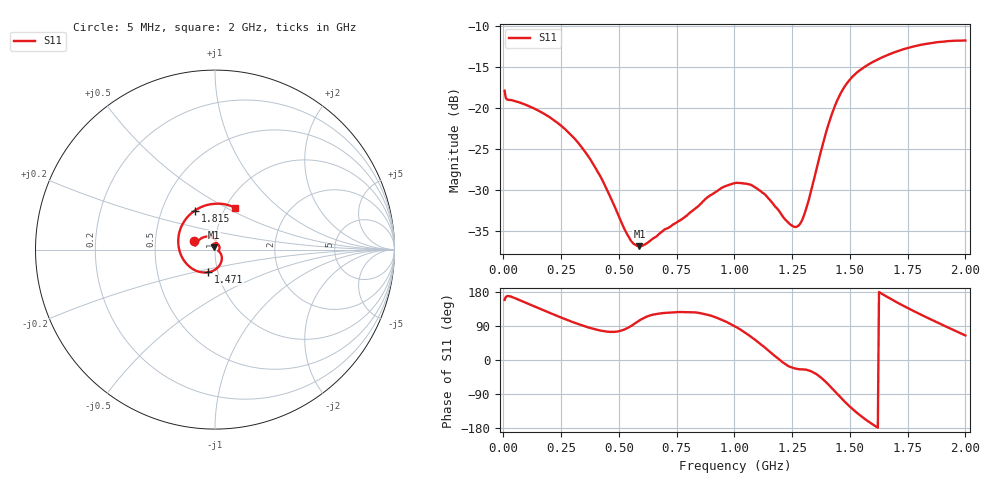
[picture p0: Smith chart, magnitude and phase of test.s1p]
! Mini-Circuits
! S9P DATA File Format
! Type: 8 Way 0 degree Power Splitter
! Model: JCPS-8-10+
! PINOUT: SUMPORT=PORT9 , OUT1 PORT=PORT1 , OUT2 PORT=PORT2 , OUT3 PORT=PORT3 , OUT4 PORT=PORT4 , OUT5 PORT=PORT5 , OUT6 PORT=PORT6 , OUT7 PORT=PORT7 , OUT8 PORT=PORT8
! TEST CONDITIONS: INPUT POWER = 0 dBm @ Temperature = + 25 deg C
! 401 Frequency points
! All S Parameters are in dB deg format
! Created with skrf (http://scikit-rf.org).
# MHz S RI R 50.0
!freq ReS11 ImS11
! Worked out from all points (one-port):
!   401 points, 5 MHz to 2 GHz, reference 50 ohm
!   lowest |S11| = -36.9 dB at 588.5 MHz (marker M1), VSWR 1.03, Z = 49.6 + j1.37 ohm
!   |S11| at or under -10 dB: start of sweep to end of sweep
!   S11 on the Smith chart (normalised r, x): 5 MHz: 0.78, +0.07; 1.471 GHz: 0.90, -0.23; 1.815 GHz: 0.73, +0.34; 2 GHz: 1.10, +0.55
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5  -0.1192 0.0461
19.96  -0.1102 0.0217
144.65  -0.0732 0.0644
254.38  -0.0275 0.0718
314.23  -0.00771 0.0631
384.05  0.0056 0.0462
443.9  0.00828 0.0315
503.75  0.00489 0.0204
553.63  -8.03e-06 0.0153
588.54  -0.00354 0.0138
753.13  -0.0119 0.0162
892.78  -0.0136 0.0257
1007.49  0.00178 0.0348
1067.34  0.0153 0.0304
1122.2  0.024 0.0185
1251.88  0.0178 -0.00658
1276.81  0.0174 -0.00774
1301.75  0.0201 -0.00943
1406.49  0.034 -0.0712
1436.41  0.0115 -0.1036
1471.33  -0.0363 -0.1263
1501.25  -0.0834 -0.1246
1561.1  -0.1596 -0.0779
1620.95  -0.1983 -0.0045
1750.63  -0.1703 0.1591
1815.46  -0.1123 0.2176
1905.24  -0.00592 0.2549
2000  0.1103 0.2342
